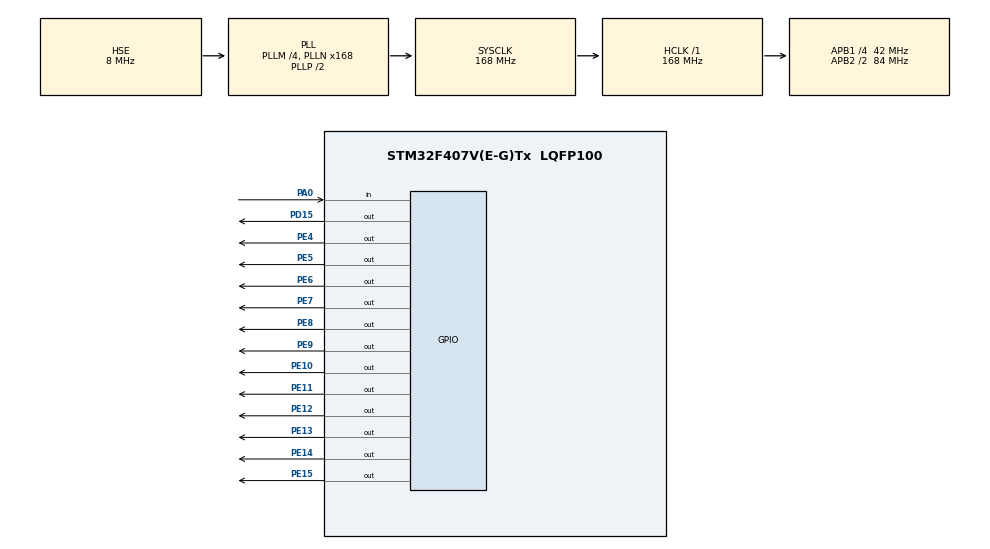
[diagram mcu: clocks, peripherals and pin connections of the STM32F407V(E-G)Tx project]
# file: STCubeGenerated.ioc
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Mcu.Family=STM32F4
Mcu.Name=STM32F407V(E-G)Tx
Mcu.Package=LQFP100
NVIC.PriorityGroup=NVIC_PRIORITYGROUP_4
NVIC.TIM7_IRQn=true\:0\:0\:false\:false\:true\:true\:true\:true
PA0-WKUP.Signal=GPIO_Input
PD15.Signal=GPIO_Output
PE10.Signal=GPIO_Output
PE11.Signal=GPIO_Output
PE12.Signal=GPIO_Output
PE13.Signal=GPIO_Output
PE14.Signal=GPIO_Output
PE15.Signal=GPIO_Output
PE4.Signal=GPIO_Output
PE5.Signal=GPIO_Output
PE6.Signal=GPIO_Output
PE7.Signal=GPIO_Output
PE8.Signal=GPIO_Output
PE9.Signal=GPIO_Output
PH0-OSC_IN.Mode=HSE-External-Oscillator
PH0-OSC_IN.Signal=RCC_OSC_IN
PH1-OSC_OUT.Mode=HSE-External-Oscillator
PH1-OSC_OUT.Signal=RCC_OSC_OUT
ProjectManager.HeapSize=0x200
ProjectManager.StackSize=0x400
ProjectManager.TargetToolchain=MDK-ARM V5
RCC.48MHZClocksFreq_Value=84000000
RCC.AHBFreq_Value=168000000
RCC.APB1CLKDivider=RCC_HCLK_DIV4
RCC.APB1Freq_Value=42000000
RCC.APB1TimFreq_Value=84000000
RCC.APB2CLKDivider=RCC_HCLK_DIV2
RCC.APB2Freq_Value=84000000
RCC.APB2TimFreq_Value=168000000
RCC.CortexFreq_Value=168000000
RCC.HCLKFreq_Value=168000000
RCC.HSE_VALUE=8000000
RCC.HSI_VALUE=16000000
RCC.LSE_VALUE=32768
RCC.PLLM=4
RCC.PLLN=168
RCC.PLLSourceVirtual=RCC_PLLSOURCE_HSE
RCC.SYSCLKFreq_VALUE=168000000
RCC.SYSCLKSource=RCC_SYSCLKSOURCE_PLLCLK
RCC.VCOOutputFreq_Value=336000000
VP_TIM7_VS_ClockSourceINT.Mode=Enable_Timer
board=custom

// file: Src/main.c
/* USER CODE BEGIN Header */
/**
  ******************************************************************************
  * @file           : main.c
  * @brief          : Main program body
  ******************************************************************************
  * @attention
  *
  * Copyright (c) 2023 STMicroelectronics.
  * All rights reserved.
  *
  * This software is licensed under terms that can be found in the LICENSE file
  * in the root directory of this software component.
  * If no LICENSE file comes with this software, it is provided AS-IS.
  *
  ******************************************************************************
  */
/* USER CODE END Header */
#include "main.h"

TIM_HandleTypeDef htim7;

void SystemClock_Config(void);
static void MX_GPIO_Init(void);
static void MX_TIM7_Init(void);

/* USER CODE BEGIN 0 */
int test=0;
//const char ledCode[10]={0x3F, 0x06, 0x5B, 0x4F, 0x66, 0x6D, 0x7C, 0x07, 0x7F, 0x67};
uint32_t ledCode[10]={0x3F, 0x06, 0x5B, 0x4F, 0x66, 0x6D, 0x7C, 0x07, 0x7F, 0x67};

uint32_t position=0;
uint32_t counter=0;
uint32_t display[4];

// abcdefgh
// 1101101

void HAL_TIM_PeriodElapsedCallback(TIM_HandleTypeDef *htim)
{

		display[3]=counter%10;
		display[2]=(counter%100)/10;
		display[1]=(counter%1000)/100;
		display[0]=(counter)/1000;

		if (position==4)
		{
			position=0;
		} else {

			{
				// clear display
				//HAL_GPIO_WritePin(GPIOE, (255<<8), 0);
				//HAL_GPIO_WritePin(GPIOE, (255<<4), 0);
				HAL_GPIO_WritePin(GPIOE, (0xFFF<<4), 0);

				// write new number
				//HAL_GPIO_WritePin(GPIOE, ledCode[display[position]]<<8, 1); //dd[position]
				//HAL_GPIO_WritePin(GPIOE, 1<<(position+4), 1);
				HAL_GPIO_WritePin(GPIOE, (ledCode[display[position]]<<8)+(1<<(position+4)), 1); //dd[position]
			}

			// or by only one line using registers
			//GPIOE->ODR=(ledCode[display[position]]<<8) + (1<<(position+4));
			/****************************************/

			position++;
		}

		//GPIOE->ODR=(ledCode[1]<<8) + (1<<(position+4));
		//position++;

  // toggle the led on every 1 sec
  if (htim == &htim7 )
  {
    test++;
		if (test==200)
		{
			HAL_GPIO_TogglePin(GPIOD, GPIO_PIN_15);
			test=0;
		}

  }
}

/* USER CODE END 0 */

int main(void)
{

  /* MCU Configuration--------------------------------------------------------*/

  /* Reset of all peripherals, Initializes the Flash interface and the Systick. */
  HAL_Init();

  /* Configure the system clock */
  SystemClock_Config();

  /* Initialize all configured peripherals */
  MX_GPIO_Init();
  MX_TIM7_Init();

  /* Infinite loop */
  while (1)
  {

		if (HAL_GPIO_ReadPin(GPIOA, GPIO_PIN_0))
		{
			counter++;
			while(HAL_GPIO_ReadPin(GPIOA, GPIO_PIN_0));
			//HAL_Delay(100);
		}

  }
}

void SystemClock_Config(void)
{
  RCC_OscInitTypeDef RCC_OscInitStruct = {0};
  RCC_ClkInitTypeDef RCC_ClkInitStruct = {0};

  /** Configure the main internal regulator output voltage
  */
  __HAL_RCC_PWR_CLK_ENABLE();
  __HAL_PWR_VOLTAGESCALING_CONFIG(PWR_REGULATOR_VOLTAGE_SCALE1);

  /** Initializes the RCC Oscillators according to the specified parameters
  * in the RCC_OscInitTypeDef structure.
  */
  RCC_OscInitStruct.OscillatorType = RCC_OSCILLATORTYPE_HSE;
  RCC_OscInitStruct.HSEState = RCC_HSE_ON;
  RCC_OscInitStruct.PLL.PLLState = RCC_PLL_ON;
  RCC_OscInitStruct.PLL.PLLSource = RCC_PLLSOURCE_HSE;
  RCC_OscInitStruct.PLL.PLLM = 4;
  RCC_OscInitStruct.PLL.PLLN = 168;
  RCC_OscInitStruct.PLL.PLLP = RCC_PLLP_DIV2;
  RCC_OscInitStruct.PLL.PLLQ = 4;
  if (HAL_RCC_OscConfig(&RCC_OscInitStruct) != HAL_OK)
  {
    Error_Handler();
  }

  /** Initializes the CPU, AHB and APB buses clocks
  */
  RCC_ClkInitStruct.ClockType = RCC_CLOCKTYPE_HCLK|RCC_CLOCKTYPE_SYSCLK
                              |RCC_CLOCKTYPE_PCLK1|RCC_CLOCKTYPE_PCLK2;
  RCC_ClkInitStruct.SYSCLKSource = RCC_SYSCLKSOURCE_PLLCLK;
  RCC_ClkInitStruct.AHBCLKDivider = RCC_SYSCLK_DIV1;
  RCC_ClkInitStruct.APB1CLKDivider = RCC_HCLK_DIV4;
  RCC_ClkInitStruct.APB2CLKDivider = RCC_HCLK_DIV2;

  if (HAL_RCC_ClockConfig(&RCC_ClkInitStruct, FLASH_LATENCY_5) != HAL_OK)
  {
    Error_Handler();
  }
}

static void MX_TIM7_Init(void)
{

  /* USER CODE BEGIN TIM7_Init 0 */
	__HAL_RCC_TIM7_CLK_ENABLE();
	TIM_ClockConfigTypeDef sClockSourceConfig;
	sClockSourceConfig.ClockSource=TIM_CLOCKSOURCE_INTERNAL;
	sClockSourceConfig.ClockPrescaler=TIM_CLOCKPRESCALER_DIV1;	// no prescalar
  /* USER CODE END TIM7_Init 0 */

  TIM_MasterConfigTypeDef sMasterConfig = {0};

  htim7.Instance = TIM7;
  htim7.Init.Prescaler = 42000-1; // 84mhz to 2000hz
  htim7.Init.CounterMode = TIM_COUNTERMODE_UP;
  htim7.Init.Period = 2-1;	//2000 kz to 1000 hz : 1ms
  htim7.Init.AutoReloadPreload = TIM_AUTORELOAD_PRELOAD_DISABLE;
  if (HAL_TIM_Base_Init(&htim7) != HAL_OK)
  {
    Error_Handler();
  }
  sMasterConfig.MasterOutputTrigger = TIM_TRGO_RESET;
  sMasterConfig.MasterSlaveMode = TIM_MASTERSLAVEMODE_DISABLE;
  if (HAL_TIMEx_MasterConfigSynchronization(&htim7, &sMasterConfig) != HAL_OK)
  {
    Error_Handler();
  }
  /* USER CODE BEGIN TIM7_Init 2 */
	HAL_TIM_ConfigClockSource (&htim7, &sClockSourceConfig);	// configure the clock source

	HAL_TIM_Base_Init(&htim7);
	HAL_TIM_Base_Start_IT(&htim7);

  // Initialize interrupt triggering
	HAL_NVIC_SetPriority(TIM7_IRQn, 0, 1);
  HAL_NVIC_EnableIRQ(TIM7_IRQn);// Enable interrupt from TIM3 (NVIC level)
  /* USER CODE END TIM7_Init 2 */

}

static void MX_GPIO_Init(void)
{
  GPIO_InitTypeDef GPIO_InitStruct = {0};

  /* GPIO Ports Clock Enable */
  __HAL_RCC_GPIOE_CLK_ENABLE();
  __HAL_RCC_GPIOH_CLK_ENABLE();
  __HAL_RCC_GPIOA_CLK_ENABLE();
  __HAL_RCC_GPIOD_CLK_ENABLE();

  /*Configure GPIO pin Output Level */
  HAL_GPIO_WritePin(GPIOE, GPIO_PIN_4|GPIO_PIN_5|GPIO_PIN_6|GPIO_PIN_7
                          |GPIO_PIN_8|GPIO_PIN_9|GPIO_PIN_10|GPIO_PIN_11
                          |GPIO_PIN_12|GPIO_PIN_13|GPIO_PIN_14|GPIO_PIN_15, GPIO_PIN_RESET);

  /*Configure GPIO pin Output Level */
  HAL_GPIO_WritePin(GPIOD, GPIO_PIN_15, GPIO_PIN_RESET);

  /*Configure GPIO pins : PE4 PE5 PE6 PE7
                           PE8 PE9 PE10 PE11
                           PE12 PE13 PE14 PE15 */
  GPIO_InitStruct.Pin = GPIO_PIN_4|GPIO_PIN_5|GPIO_PIN_6|GPIO_PIN_7
                          |GPIO_PIN_8|GPIO_PIN_9|GPIO_PIN_10|GPIO_PIN_11
                          |GPIO_PIN_12|GPIO_PIN_13|GPIO_PIN_14|GPIO_PIN_15;

  GPIO_InitStruct.Mode = GPIO_MODE_OUTPUT_PP;
  GPIO_InitStruct.Pull = GPIO_NOPULL;
  GPIO_InitStruct.Speed = GPIO_SPEED_FREQ_LOW;
  HAL_GPIO_Init(GPIOE, &GPIO_InitStruct);

  /*Configure GPIO pin : PA0 */
  GPIO_InitStruct.Pin = GPIO_PIN_0;
  GPIO_InitStruct.Mode = GPIO_MODE_INPUT;
  GPIO_InitStruct.Pull = GPIO_NOPULL;
  HAL_GPIO_Init(GPIOA, &GPIO_InitStruct);

  /*Configure GPIO pin : PD15 */
  GPIO_InitStruct.Pin = GPIO_PIN_15;
  GPIO_InitStruct.Mode = GPIO_MODE_OUTPUT_PP;
  GPIO_InitStruct.Pull = GPIO_NOPULL;
  GPIO_InitStruct.Speed = GPIO_SPEED_FREQ_LOW;
  HAL_GPIO_Init(GPIOD, &GPIO_InitStruct);

}

void Error_Handler(void)
{
  __disable_irq();
  while (1)
  {
  }
}
